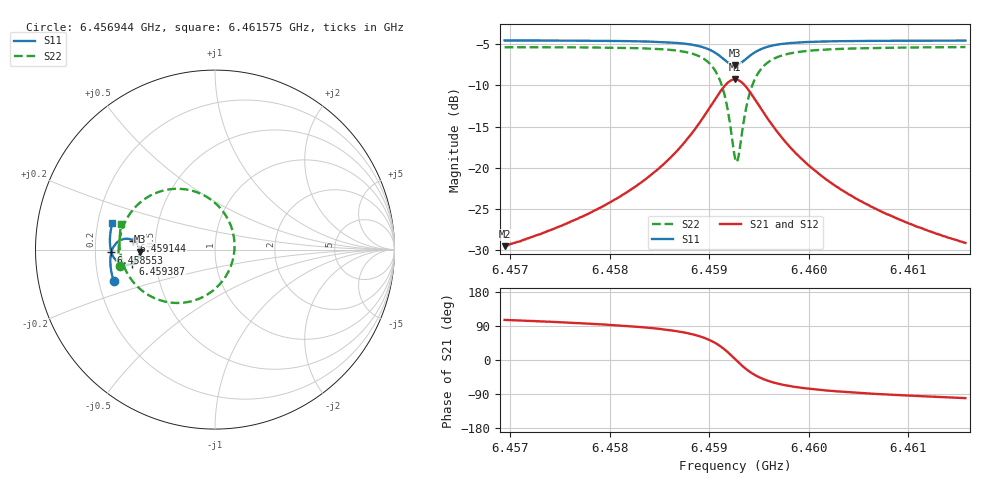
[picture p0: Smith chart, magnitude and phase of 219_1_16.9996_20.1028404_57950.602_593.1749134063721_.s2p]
#  HZ  S  RI  R  50.00
! Rohde & Schwarz Vector Network Analyzer
! Rohde-Schwarz,ZNB20-2Port,1311601062101988,3.16
! Created: UTC 3/20/2024, 11:01:53 PM
! freq[Hz]  re:S11  im:S11  re:S21  im:S21  re:S12  im:S12  re:S22  im:S22
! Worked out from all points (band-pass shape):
!   401 points, 6.456944 GHz to 6.461575 GHz, reference 50 ohm
!   highest |S21| = -9.28 dB at 6.45926 GHz (marker M1); lowest = -29.5 dB at 6.456944 GHz (marker M2)
!   |S21| within 3 dB of the highest: 6.459028 GHz to 6.459491 GHz (463.4 kHz wide, 0.00717 % of centre)
!   lowest |S11| = -7.6 dB at 6.45926 GHz (marker M3), VSWR 2.44, Z = 20.5 - j0.611 ohm
!   |S11| at or under -10 dB: nowhere
!   |S22| runs from -19.3 to -5.4 dB; largest |S21 - S12| = 0.013
!   S11 on the Smith chart (normalised r, x): 6.456944 GHz: 0.26, -0.14; 6.458553 GHz: 0.27, -0.01; 6.459144 GHz: 0.37, +0.05; 6.459387 GHz: 0.37, -0.07; 6.461575 GHz: 0.26, +0.12
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6.4569436e9  -0.5654 -0.1758  -0.00921 0.0321  -0.00743 0.0322  -0.5309 -0.0911
6.4577195e9  -0.58 -0.1082  -0.00596 0.0499  -0.00348 0.0496  -0.5372 -0.000654
6.4581363e9  -0.5832 -0.0667  -0.000365 0.0688  0.00273 0.0674  -0.5302 0.0645
6.4584953e9  -0.5796 -0.024  0.0134 0.0982  0.0175 0.0957  -0.5051 0.1447
6.4585532e9  -0.5778 -0.0161  0.0177 0.1053  0.0218 0.1022  -0.4971 0.1613
6.4587616e9  -0.5651 0.0161  0.0449 0.1377  0.0491 0.1329  -0.4465 0.2342
6.4589122e9  -0.5426 0.0425  0.0898 0.1683  0.0931 0.1617  -0.3637 0.2992
6.4590511e9  -0.499 0.0603  0.1765 0.1853  0.1777 0.1779  -0.2055 0.3388
6.4591437e9  -0.4546 0.0503  0.2662 0.1546  0.2666 0.1487  -0.0392 0.2896
6.4591901e9  -0.4335 0.0315  0.3099 0.1121  0.3112 0.1068  0.0436 0.2141
6.4592595e9  -0.4187 -0.0123  0.3433 0.0158  0.3469 0.00884  0.1089 0.0354
6.4592711e9  -0.4191 -0.0204  0.3433 -0.00199  0.3471 -0.00946  0.1085 0.00192
6.4592943e9  -0.4226 -0.0359  0.3379 -0.0365  0.3416 -0.0455  0.0977 -0.0635
6.4593406e9  -0.4381 -0.0618  0.3096 -0.0962  0.3117 -0.1078  0.0411 -0.1761
6.4593869e9  -0.46 -0.0781  0.2679 -0.1372  0.2673 -0.1502  -0.0431 -0.2507
6.4594795e9  -0.5031 -0.0849  0.1839 -0.1685  0.1778 -0.1798  -0.2105 -0.2973
6.4596301e9  -0.5468 -0.0645  0.0965 -0.1551  0.0882 -0.1613  -0.3773 -0.2491
6.4597922e9  -0.5682 -0.0369  0.0518 -0.1277  0.0443 -0.1304  -0.4576 -0.1779
6.4600354e9  -0.5809 -0.00146  0.0226 -0.0964  0.017 -0.0971  -0.5058 -0.0962
6.4603828e9  -0.5856 0.0398  0.00663 -0.07  0.00255 -0.0695  -0.5277 -0.0172
6.4608112e9  -0.5838 0.0826  -0.00121 -0.0516  -0.00406 -0.0508  -0.5323 0.0509
6.4615754e9  -0.5716 0.1503  -0.00643 -0.0344  -0.00805 -0.0334  -0.5214 0.1409
